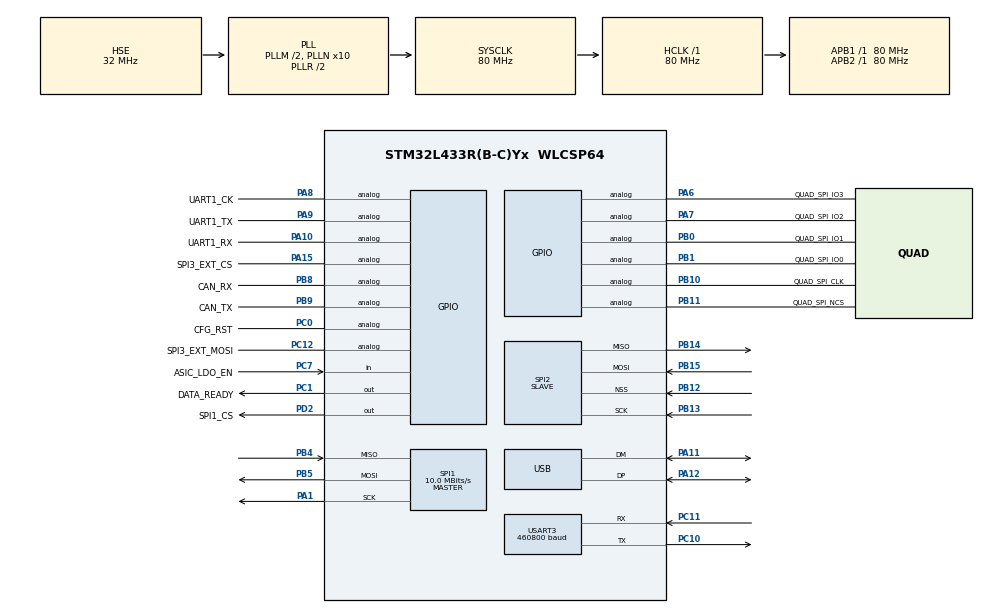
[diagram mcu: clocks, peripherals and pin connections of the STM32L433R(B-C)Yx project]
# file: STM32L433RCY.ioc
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Dma.Request0=SPI2_RX
Dma.Request1=SPI2_TX
Dma.Request2=USART3_RX
Dma.Request3=USART3_TX
Dma.SPI2_RX.0.Direction=DMA_PERIPH_TO_MEMORY
Dma.SPI2_RX.0.Instance=DMA1_Channel4
Dma.SPI2_RX.0.MemDataAlignment=DMA_MDATAALIGN_BYTE
Dma.SPI2_RX.0.MemInc=DMA_MINC_ENABLE
Dma.SPI2_RX.0.Mode=DMA_NORMAL
Dma.SPI2_RX.0.PeriphDataAlignment=DMA_PDATAALIGN_BYTE
Dma.SPI2_RX.0.PeriphInc=DMA_PINC_DISABLE
Dma.SPI2_RX.0.Priority=DMA_PRIORITY_HIGH
Dma.SPI2_TX.1.Direction=DMA_MEMORY_TO_PERIPH
Dma.SPI2_TX.1.Instance=DMA1_Channel5
Dma.SPI2_TX.1.MemDataAlignment=DMA_MDATAALIGN_BYTE
Dma.SPI2_TX.1.MemInc=DMA_MINC_ENABLE
Dma.SPI2_TX.1.Mode=DMA_NORMAL
Dma.SPI2_TX.1.PeriphDataAlignment=DMA_PDATAALIGN_BYTE
Dma.SPI2_TX.1.PeriphInc=DMA_PINC_DISABLE
Dma.SPI2_TX.1.Priority=DMA_PRIORITY_HIGH
Dma.USART3_RX.2.Direction=DMA_PERIPH_TO_MEMORY
Dma.USART3_RX.2.Instance=DMA1_Channel3
Dma.USART3_RX.2.MemDataAlignment=DMA_MDATAALIGN_BYTE
Dma.USART3_RX.2.MemInc=DMA_MINC_ENABLE
Dma.USART3_RX.2.Mode=DMA_NORMAL
Dma.USART3_RX.2.PeriphDataAlignment=DMA_PDATAALIGN_BYTE
Dma.USART3_RX.2.PeriphInc=DMA_PINC_DISABLE
Dma.USART3_RX.2.Priority=DMA_PRIORITY_LOW
Dma.USART3_TX.3.Direction=DMA_MEMORY_TO_PERIPH
Dma.USART3_TX.3.Instance=DMA1_Channel2
Dma.USART3_TX.3.MemDataAlignment=DMA_MDATAALIGN_BYTE
Dma.USART3_TX.3.MemInc=DMA_MINC_ENABLE
Dma.USART3_TX.3.Mode=DMA_NORMAL
Dma.USART3_TX.3.PeriphDataAlignment=DMA_PDATAALIGN_BYTE
Dma.USART3_TX.3.PeriphInc=DMA_PINC_DISABLE
Dma.USART3_TX.3.Priority=DMA_PRIORITY_LOW
Mcu.Family=STM32L4
Mcu.Name=STM32L433R(B-C)Yx
Mcu.Package=WLCSP64
NVIC.DMA1_Channel2_IRQn=true\:0\:0\:true\:false\:true\:true\:true\:true
NVIC.DMA1_Channel3_IRQn=true\:1\:0\:true\:false\:true\:true\:true\:true
NVIC.DMA1_Channel4_IRQn=true\:1\:0\:true\:false\:true\:true\:true\:true
NVIC.DMA1_Channel5_IRQn=true\:0\:0\:true\:false\:true\:true\:true\:true
NVIC.PriorityGroup=NVIC_PRIORITYGROUP_4
NVIC.RCC_IRQn=true\:0\:0\:false\:false\:true\:true\:false\:true
NVIC.SPI1_IRQn=true\:3\:0\:true\:false\:true\:true\:true\:true
NVIC.SPI2_IRQn=true\:1\:0\:true\:false\:true\:true\:true\:true
NVIC.TIM2_IRQn=true\:2\:0\:true\:false\:true\:true\:true\:true
NVIC.USART3_IRQn=true\:0\:0\:false\:false\:true\:true\:true\:true
NVIC.USB_IRQn=true\:0\:0\:false\:false\:true\:true\:true\:true
PA1.Mode=Full_Duplex_Master
PA1.Signal=SPI1_SCK
PA10.GPIO_Label=UART1_RX
PA10.Signal=GPIO_Analog
PA11.Mode=Device
PA11.Signal=USB_DM
PA12.Mode=Device
PA12.Signal=USB_DP
PA13\ (JTMS-SWDIO).Mode=Trace_Asynchronous_SW
PA13\ (JTMS-SWDIO).Signal=SYS_JTMS-SWDIO
PA14\ (JTCK-SWCLK).Mode=Trace_Asynchronous_SW
PA14\ (JTCK-SWCLK).Signal=SYS_JTCK-SWCLK
PA15\ (JTDI).GPIO_Label=SPI3_EXT_CS
PA15\ (JTDI).Signal=GPIO_Analog
PA6.GPIO_Label=QUAD_SPI_IO3
PA6.Signal=GPIO_Analog
PA7.GPIO_Label=QUAD_SPI_IO2
PA7.Signal=GPIO_Analog
PA8.GPIO_Label=UART1_CK
PA8.Signal=GPIO_Analog
PA9.GPIO_Label=UART1_TX
PA9.Signal=GPIO_Analog
PB0.GPIO_Label=QUAD_SPI_IO1
PB0.Signal=GPIO_Analog
PB1.GPIO_Label=QUAD_SPI_IO0
PB1.Signal=GPIO_Analog
PB10.GPIO_Label=QUAD_SPI_CLK
PB10.Signal=GPIO_Analog
PB11.GPIO_Label=QUAD_SPI_NCS
PB11.Signal=GPIO_Analog
PB12.GPIO_PuPd=GPIO_PULLUP
PB12.Mode=NSS_Signal_Hard_Input
PB12.Signal=SPI2_NSS
PB13.Mode=Full_Duplex_Slave
PB13.Signal=SPI2_SCK
PB14.Mode=Full_Duplex_Slave
PB14.Signal=SPI2_MISO
PB15.Mode=Full_Duplex_Slave
PB15.Signal=SPI2_MOSI
PB3\ (JTDO-TRACESWO).Mode=Trace_Asynchronous_SW
PB3\ (JTDO-TRACESWO).Signal=SYS_JTDO-SWO
PB4\ (NJTRST).Mode=Full_Duplex_Master
PB4\ (NJTRST).Signal=SPI1_MISO
PB5.Mode=Full_Duplex_Master
PB5.Signal=SPI1_MOSI
PB8.GPIO_Label=CAN_RX
PB8.Signal=GPIO_Analog
PB9.GPIO_Label=CAN_TX
PB9.Signal=GPIO_Analog
PC0.GPIO_Label=CFG_RST
PC0.Signal=GPIO_Analog
PC1.GPIO_Label=DATA_READY
PC1.GPIO_PuPd=GPIO_NOPULL
PC1.Signal=GPIO_Output
PC10.GPIO_PuPd=GPIO_NOPULL
PC10.Mode=Asynchronous
PC10.Signal=USART3_TX
PC11.GPIO_PuPd=GPIO_PULLUP
PC11.Mode=Asynchronous
PC11.Signal=USART3_RX
PC12.GPIO_Label=SPI3_EXT_MOSI
PC12.Signal=GPIO_Analog
PC7.GPIO_Label=ASIC_LDO_EN
PC7.GPIO_PuPd=GPIO_PULLUP
PC7.Signal=GPIO_Input
PD2.GPIO_Label=SPI1_CS
PD2.PinState=GPIO_PIN_SET
PD2.Signal=GPIO_Output
PH0-OSC_IN\ (PH0).Mode=HSE-External-Oscillator
PH0-OSC_IN\ (PH0).Signal=RCC_OSC_IN
PH1-OSC_OUT\ (PH1).Mode=HSE-External-Oscillator
PH1-OSC_OUT\ (PH1).Signal=RCC_OSC_OUT
ProjectManager.HeapSize=0x2000
ProjectManager.StackSize=0x4000
ProjectManager.TargetToolchain=STM32CubeIDE
RCC.ADCFreq_Value=96000000
RCC.AHBFreq_Value=80000000
RCC.APB1Freq_Value=80000000
RCC.APB1TimFreq_Value=80000000
RCC.APB2Freq_Value=80000000
RCC.APB2TimFreq_Value=80000000
RCC.CortexFreq_Value=80000000
RCC.HCLKFreq_Value=80000000
RCC.HSE_VALUE=32000000
RCC.HSI48_VALUE=48000000
RCC.HSI_VALUE=16000000
RCC.LSE_VALUE=32768
RCC.MSI_VALUE=4000000
RCC.PLLM=2
RCC.PLLN=10
RCC.PLLSAI1N=12
RCC.PLLSAI1Q=RCC_PLLQ_DIV4
RCC.PLLSourceVirtual=RCC_PLLSOURCE_HSE
RCC.RCC_MCO1Source=RCC_MCO1SOURCE_HSE
RCC.RCC_MCODiv=RCC_MCODIV_2
RCC.SYSCLKFreq_VALUE=80000000
RCC.SYSCLKSource=RCC_SYSCLKSOURCE_PLLCLK
RCC.USBFreq_Value=48000000
RCC.VCOOutputFreq_Value=160000000
RCC.VDD_VALUE=3.3
SPI1.BaudRatePrescaler=SPI_BAUDRATEPRESCALER_8
SPI1.CalculateBaudRate=10.0 MBits/s
SPI1.DataSize=SPI_DATASIZE_16BIT
SPI1.Direction=SPI_DIRECTION_2LINES
SPI1.Mode=SPI_MODE_MASTER
SPI1.VirtualType=VM_MASTER
SPI2.DataSize=SPI_DATASIZE_8BIT
SPI2.Direction=SPI_DIRECTION_2LINES
SPI2.Mode=SPI_MODE_SLAVE
SPI2.VirtualNSS=VM_NSSHARD
SPI2.VirtualType=VM_SLAVE
TIM2.AutoReloadPreload=TIM_AUTORELOAD_PRELOAD_ENABLE
TIM2.Period=399
TIM2.Prescaler=99
USART3.BaudRate=460800
USART3.VirtualMode-Asynchronous=VM_ASYNC
USB_DEVICE.CLASS_NAME_FS=CDC
USB_DEVICE.MANUFACTURER_STRING=Murata
USB_DEVICE.PID_CDC_FS=0x5740
USB_DEVICE.PRODUCT_STRING_CDC_FS=Murata SCI36LT-K02
USB_DEVICE.USBD_LPM_ENABLED=0
USB_DEVICE.VID=0xbb5
USB_DEVICE.VirtualMode=Cdc
USB_DEVICE.VirtualModeFS=Cdc_FS
VP_TIM2_VS_ClockSourceINT.Mode=Internal
VP_USB_DEVICE_VS_USB_DEVICE_CDC_FS.Mode=CDC_FS
board=custom

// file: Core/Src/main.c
/* USER CODE BEGIN Header */
/**
  ******************************************************************************
  * @file           : main.c
  * @brief          : Main program body.
  ******************************************************************************
  * @attention
  *
  * Murata contributions: Copyright (c) 2024-2026 Murata Electronics Oy.
  *
  * Portions Copyright (c) STMicroelectronics.
  * All rights reserved.
  *
  * ST-generated code and modifications to it are licensed under the Ultimate
  * Liberty software license agreement SLA0044. See
  * third_party_licenses/ST_SLA0044.txt and THIRD_PARTY_NOTICES.md at the
  * repository root.
  *
  ******************************************************************************
  */
/* USER CODE END Header */
#include "main.h"
#include "usb_device.h"

/* USER CODE BEGIN Includes */
#include "stdbool.h"
#include "stdint.h"
#include "string.h"
#include "stdio.h"
#include "math.h"
#include "MFI_MEMS.h"
#include "AsicFunctions.h"
#include "StrFunctions.h"
#include "reg_interface.h"
#include "task_processor.h"
#include "firmware_extension.h"
#include "bit_names.h"
#if DEBUG_PRINTS_ON_USB
#include "usbd_cdc_if.h"
#endif

/* USER CODE END Includes */

/* USER CODE BEGIN PD */

#define HOST_SPI_NSS_GPIO_PORT GPIOB
#define HOST_SPI_NSS_PIN GPIO_PIN_12

/* USER CODE END PD */

SPI_HandleTypeDef hspi1;
SPI_HandleTypeDef hspi2;
DMA_HandleTypeDef hdma_spi2_rx;
DMA_HandleTypeDef hdma_spi2_tx;

TIM_HandleTypeDef htim2;

UART_HandleTypeDef huart3;
DMA_HandleTypeDef hdma_usart3_rx;
DMA_HandleTypeDef hdma_usart3_tx;

/* USER CODE BEGIN PV */
volatile uint16_t sensor_average = 0;
static uint16_t sensor_valid_samples = 0;
volatile uint8_t averaging_complete = 0;
volatile bool tx_done_flag = true;
volatile uint32_t rx_dma_reset_counter = 0;
static uint8_t asic_spi_enabled = 1;
struct component_flag status_flag={0};
uint8_t spi_rx_data[MAX_BYTES_PER_TRANSFER];
uint8_t uart_rx_data[MAX_BYTES_PER_TRANSFER];
struct sensor_Array out = {0};
struct sensor_LSB32 sensor_raw = {0};
struct sensor_LSB32 sensor_ave = {0};
static volatile bool spi_recovery_pending = false;
/* USER CODE END PV */

void SystemClock_Config(void);
static void MX_GPIO_Init(void);
static void MX_DMA_Init(void);
static void MX_SPI1_Init(void);
static void MX_TIM2_Init(void);
static void MX_SPI2_Init(void);
static void MX_USART3_UART_Init(void);
/* USER CODE BEGIN PFP */

static void try_recover_host_spi(void);

/* USER CODE END PFP */

int main(void)
{

  /* MCU Configuration--------------------------------------------------------*/

  /* Reset of all peripherals, Initializes the Flash interface and the Systick. */
  HAL_Init();

  /* Configure the system clock */
  SystemClock_Config();

  /* Initialize all configured peripherals */
  MX_GPIO_Init();
  MX_DMA_Init();
  MX_SPI1_Init();
  MX_TIM2_Init();
#if DEBUG_PRINTS_ON_USB
  MX_USB_DEVICE_Init();
#endif
  MX_SPI2_Init();
  MX_USART3_UART_Init();
  /* USER CODE BEGIN 2 */
	HAL_SPI_Init(&hspi1);
	HAL_SPI_Init(&hspi2);

	HAL_Delay(5);

	__HAL_SPI_ENABLE(&hspi1);
	__HAL_SPI_ENABLE(&hspi2);

	while(HAL_SPI_TransmitReceive_DMA(&hspi2, get_tx_frame_ptr(SPI_INTERFACE), spi_rx_data, get_transfer_count()) != HAL_OK);
	while(HAL_UART_Receive_DMA(&huart3, uart_rx_data, get_transfer_count()) != HAL_OK);

#if DEBUG_PRINTS_ON_USB
	HAL_Delay(400); // USB device needs to negotiate with PC, which takes some time
#endif

	// Initialize register bank
	init_reg_bank();
	firmware_extension_init();

	// This will initialize ASIC in process_tasks()
	write_reg(CONF, set_bit_state(0, RST, 1));

	// Allow the ASIC NVM to complete before the first SPI initialization.
	HAL_Delay(50);

  /* USER CODE END 2 */

  /* Infinite loop */
	while (1)
	{

    /* USER CODE BEGIN 3 */
		if (spi_recovery_pending) {
			try_recover_host_spi();
		}
		process_tasks();
		firmware_extension_process();

		//Average
		if(averaging_complete)
		{
			averaging_complete = 0;

			// Continue processing only if reset has not been requested
			if (get_bit_state(read_reg(SENSOR_STATUS, 0), RES) == 0)
			{
				if (get_init_stage() == stage_normal)
				{
					// Update all data registers before setting DATA_READY.
					const uint8_t data_reg_modified[DATA_REG_COUNT] = {[0 ... DATA_REG_COUNT - 1] = 1};
					int32_t data_array[DATA_REG_COUNT] = {
							float_to_fixed(out.Acc_X, REGULAR_FRACTIONAL_BITS),
							float_to_fixed(out.Acc_Y, REGULAR_FRACTIONAL_BITS),
							float_to_fixed(out.Acc_Z, REGULAR_FRACTIONAL_BITS),
							float_to_fixed(out.Gyro_X, REGULAR_FRACTIONAL_BITS),
							float_to_fixed(out.Gyro_Y, REGULAR_FRACTIONAL_BITS),
							float_to_fixed(out.Gyro_Z, REGULAR_FRACTIONAL_BITS),
							float_to_fixed(out.Temp, REGULAR_FRACTIONAL_BITS)
					};
					firmware_extension_transform_sensor_data(data_array, DATA_REG_COUNT);

					reg_bank_t *register_bank = get_reg_bank_ptr();
					__disable_irq();
					for (uint8_t data_index = 0; data_index < DATA_REG_COUNT; ++data_index)
					{
						uint8_t reg = data_reg_at(data_index);
						register_bank->reg_data[reg] = data_array[data_index];
						register_bank->reg_modified[reg] = data_reg_modified[data_index];
					}

					//All data registers have been written, so set DATA_READY pin and bit to one
					main_set_data_ready_pin_state(1);
					__enable_irq();
				}

				// Update status register
				__disable_irq();
				write_reg(SENSOR_STATUS, (int32_t) (
						(((uint32_t)read_reg(SENSOR_STATUS, 0)) & (1UL << DRY)) |
						(((uint32_t)status_flag.common) << CMS) |
						(((uint32_t)status_flag.Hard_Asic_Crc) << ACRC) |
						(((uint32_t)status_flag.Hard_Asic_Command) << ACE) |
						(((uint32_t)status_flag.Hard_Gyro_X) << HGX) |
						(((uint32_t)status_flag.Soft_Gyro_X) << SGX) |
						(((uint32_t)status_flag.Hard_Gyro_Y) << HGY) |
						(((uint32_t)status_flag.Soft_Gyro_Y) << SGY) |
						(((uint32_t)status_flag.Hard_Gyro_Z) << HGZ) |
						(((uint32_t)status_flag.Soft_Gyro_Z) << SGZ) |
						(((uint32_t)status_flag.Hard_Acc_X) << HAX) |
						(((uint32_t)status_flag.Soft_Acc_X) << SAX) |
						(((uint32_t)status_flag.Hard_Acc_Y) << HAY) |
						(((uint32_t)status_flag.Soft_Acc_Y) << SAY) |
						(((uint32_t)status_flag.Hard_Acc_Z) << HAZ) |
						(((uint32_t)status_flag.Soft_Acc_Z) << SAZ)
						));
				// Clear published flags before an ISR can latch a new error that this reset would erase.
				status_flag.Soft_Gyro_X=0;
				status_flag.Soft_Gyro_Y=0;
				status_flag.Soft_Gyro_Z=0;
				status_flag.Soft_Acc_X=0;
				status_flag.Soft_Acc_Y=0;
				status_flag.Soft_Acc_Z=0;

				status_flag.Hard_Gyro_X = 0;
				status_flag.Hard_Gyro_Y = 0;
				status_flag.Hard_Gyro_Z = 0;
				status_flag.Hard_Acc_X = 0;
				status_flag.Hard_Acc_Y = 0;
				status_flag.Hard_Acc_Z = 0;

				status_flag.common = 0;
				status_flag.Hard_Asic_Crc = 0;
				status_flag.Hard_Asic_Command = 0;
				__enable_irq();

				debug_printf("%.6f\t%.6f\t%.6f\t%.3f\t%.3f\t%.3f\t%.1f\t%08X",
						out.Acc_X, out.Acc_Y, out.Acc_Z,
						out.Gyro_X, out.Gyro_Y, out.Gyro_Z,
						out.Temp,
						read_reg(SENSOR_STATUS, 0)
						);
			}
		}

		//Put CPU into sleep, but all peripherals continue to operate. Next sample timer interrupt will wake the CPU up
		HAL_SuspendTick();
		HAL_PWR_EnterSLEEPMode(PWR_MAINREGULATOR_ON,PWR_SLEEPENTRY_WFI);
		HAL_ResumeTick();

	} // while

  /* USER CODE END 3 */
}

void SystemClock_Config(void)
{
  RCC_OscInitTypeDef RCC_OscInitStruct = {0};
  RCC_ClkInitTypeDef RCC_ClkInitStruct = {0};

  /** Configure the main internal regulator output voltage
  */
  if (HAL_PWREx_ControlVoltageScaling(PWR_REGULATOR_VOLTAGE_SCALE1) != HAL_OK)
  {
    Error_Handler();
  }

  /** Initializes the RCC Oscillators according to the specified parameters
  * in the RCC_OscInitTypeDef structure.
  */
  RCC_OscInitStruct.OscillatorType = RCC_OSCILLATORTYPE_HSE;
  RCC_OscInitStruct.HSEState = RCC_HSE_ON;
  RCC_OscInitStruct.PLL.PLLState = RCC_PLL_ON;
  RCC_OscInitStruct.PLL.PLLSource = RCC_PLLSOURCE_HSE;
  RCC_OscInitStruct.PLL.PLLM = 2;
  RCC_OscInitStruct.PLL.PLLN = 10;
  RCC_OscInitStruct.PLL.PLLP = RCC_PLLP_DIV7;
  RCC_OscInitStruct.PLL.PLLQ = RCC_PLLQ_DIV2;
  RCC_OscInitStruct.PLL.PLLR = RCC_PLLR_DIV2;
  if (HAL_RCC_OscConfig(&RCC_OscInitStruct) != HAL_OK)
  {
    Error_Handler();
  }

  /** Initializes the CPU, AHB and APB buses clocks
  */
  RCC_ClkInitStruct.ClockType = RCC_CLOCKTYPE_HCLK|RCC_CLOCKTYPE_SYSCLK
                              |RCC_CLOCKTYPE_PCLK1|RCC_CLOCKTYPE_PCLK2;
  RCC_ClkInitStruct.SYSCLKSource = RCC_SYSCLKSOURCE_PLLCLK;
  RCC_ClkInitStruct.AHBCLKDivider = RCC_SYSCLK_DIV1;
  RCC_ClkInitStruct.APB1CLKDivider = RCC_HCLK_DIV1;
  RCC_ClkInitStruct.APB2CLKDivider = RCC_HCLK_DIV1;

  if (HAL_RCC_ClockConfig(&RCC_ClkInitStruct, FLASH_LATENCY_4) != HAL_OK)
  {
    Error_Handler();
  }
}

static void MX_SPI1_Init(void)
{

  /* SPI1 parameter configuration*/
  hspi1.Instance = SPI1;
  hspi1.Init.Mode = SPI_MODE_MASTER;
  hspi1.Init.Direction = SPI_DIRECTION_2LINES;
  hspi1.Init.DataSize = SPI_DATASIZE_16BIT;
  hspi1.Init.CLKPolarity = SPI_POLARITY_LOW;
  hspi1.Init.CLKPhase = SPI_PHASE_1EDGE;
  hspi1.Init.NSS = SPI_NSS_SOFT;
  hspi1.Init.BaudRatePrescaler = SPI_BAUDRATEPRESCALER_8;
  hspi1.Init.FirstBit = SPI_FIRSTBIT_MSB;
  hspi1.Init.TIMode = SPI_TIMODE_DISABLE;
  hspi1.Init.CRCCalculation = SPI_CRCCALCULATION_DISABLE;
  hspi1.Init.CRCPolynomial = 7;
  hspi1.Init.CRCLength = SPI_CRC_LENGTH_DATASIZE;
  hspi1.Init.NSSPMode = SPI_NSS_PULSE_ENABLE;
  if (HAL_SPI_Init(&hspi1) != HAL_OK)
  {
    Error_Handler();
  }

}

static void MX_SPI2_Init(void)
{

  /* SPI2 parameter configuration*/
  hspi2.Instance = SPI2;
  hspi2.Init.Mode = SPI_MODE_SLAVE;
  hspi2.Init.Direction = SPI_DIRECTION_2LINES;
  hspi2.Init.DataSize = SPI_DATASIZE_8BIT;
  hspi2.Init.CLKPolarity = SPI_POLARITY_LOW;
  hspi2.Init.CLKPhase = SPI_PHASE_1EDGE;
  hspi2.Init.NSS = SPI_NSS_HARD_INPUT;
  hspi2.Init.FirstBit = SPI_FIRSTBIT_MSB;
  hspi2.Init.TIMode = SPI_TIMODE_DISABLE;
  hspi2.Init.CRCCalculation = SPI_CRCCALCULATION_DISABLE;
  hspi2.Init.CRCPolynomial = 7;
  hspi2.Init.CRCLength = SPI_CRC_LENGTH_DATASIZE;
  hspi2.Init.NSSPMode = SPI_NSS_PULSE_DISABLE;
  if (HAL_SPI_Init(&hspi2) != HAL_OK)
  {
    Error_Handler();
  }

}

static void MX_TIM2_Init(void)
{

  TIM_ClockConfigTypeDef sClockSourceConfig = {0};
  TIM_MasterConfigTypeDef sMasterConfig = {0};

  htim2.Instance = TIM2;
  htim2.Init.Prescaler = 99;
  htim2.Init.CounterMode = TIM_COUNTERMODE_UP;
  htim2.Init.Period = 399;
  htim2.Init.ClockDivision = TIM_CLOCKDIVISION_DIV1;
  htim2.Init.AutoReloadPreload = TIM_AUTORELOAD_PRELOAD_ENABLE;
  if (HAL_TIM_Base_Init(&htim2) != HAL_OK)
  {
    Error_Handler();
  }
  sClockSourceConfig.ClockSource = TIM_CLOCKSOURCE_INTERNAL;
  if (HAL_TIM_ConfigClockSource(&htim2, &sClockSourceConfig) != HAL_OK)
  {
    Error_Handler();
  }
  sMasterConfig.MasterOutputTrigger = TIM_TRGO_RESET;
  sMasterConfig.MasterSlaveMode = TIM_MASTERSLAVEMODE_DISABLE;
  if (HAL_TIMEx_MasterConfigSynchronization(&htim2, &sMasterConfig) != HAL_OK)
  {
    Error_Handler();
  }

}

static void MX_USART3_UART_Init(void)
{

  huart3.Instance = USART3;
  huart3.Init.BaudRate = 460800;
  huart3.Init.WordLength = UART_WORDLENGTH_8B;
  huart3.Init.StopBits = UART_STOPBITS_1;
  huart3.Init.Parity = UART_PARITY_NONE;
  huart3.Init.Mode = UART_MODE_TX_RX;
  huart3.Init.HwFlowCtl = UART_HWCONTROL_NONE;
  huart3.Init.OverSampling = UART_OVERSAMPLING_16;
  huart3.Init.OneBitSampling = UART_ONE_BIT_SAMPLE_DISABLE;
  huart3.AdvancedInit.AdvFeatureInit = UART_ADVFEATURE_NO_INIT;
  if (HAL_UART_Init(&huart3) != HAL_OK)
  {
    Error_Handler();
  }

}

static void MX_DMA_Init(void)
{

  /* DMA controller clock enable */
  __HAL_RCC_DMA1_CLK_ENABLE();

  /* DMA interrupt init */
  /* DMA1_Channel2_IRQn interrupt configuration */
  HAL_NVIC_SetPriority(DMA1_Channel2_IRQn, 0, 0);
  HAL_NVIC_EnableIRQ(DMA1_Channel2_IRQn);
  /* DMA1_Channel3_IRQn interrupt configuration */
  HAL_NVIC_SetPriority(DMA1_Channel3_IRQn, 1, 0);
  HAL_NVIC_EnableIRQ(DMA1_Channel3_IRQn);
  /* DMA1_Channel4_IRQn interrupt configuration */
  HAL_NVIC_SetPriority(DMA1_Channel4_IRQn, 1, 0);
  HAL_NVIC_EnableIRQ(DMA1_Channel4_IRQn);
  /* DMA1_Channel5_IRQn interrupt configuration */
  HAL_NVIC_SetPriority(DMA1_Channel5_IRQn, 0, 0);
  HAL_NVIC_EnableIRQ(DMA1_Channel5_IRQn);

}

static void MX_GPIO_Init(void)
{
  GPIO_InitTypeDef GPIO_InitStruct = {0};

  /* GPIO Ports Clock Enable */
  __HAL_RCC_GPIOA_CLK_ENABLE();
  __HAL_RCC_GPIOC_CLK_ENABLE();
  __HAL_RCC_GPIOD_CLK_ENABLE();
  __HAL_RCC_GPIOB_CLK_ENABLE();
  __HAL_RCC_GPIOH_CLK_ENABLE();

  /*Configure GPIO pin Output Level */
  HAL_GPIO_WritePin(SPI1_CS_GPIO_Port, SPI1_CS_Pin, GPIO_PIN_SET);

  /*Configure GPIO pin Output Level */
  HAL_GPIO_WritePin(DATA_READY_GPIO_Port, DATA_READY_Pin, GPIO_PIN_RESET);

  /*Configure GPIO pins : SPI3_EXT_CS_Pin UART1_TX_Pin UART1_RX_Pin UART1_CK_Pin
                           QUAD_SPI_IO3_Pin QUAD_SPI_IO2_Pin */
  GPIO_InitStruct.Pin = SPI3_EXT_CS_Pin|UART1_TX_Pin|UART1_RX_Pin|UART1_CK_Pin
                          |QUAD_SPI_IO3_Pin|QUAD_SPI_IO2_Pin;
  GPIO_InitStruct.Mode = GPIO_MODE_ANALOG;
  GPIO_InitStruct.Pull = GPIO_NOPULL;
  HAL_GPIO_Init(GPIOA, &GPIO_InitStruct);

  /*Configure GPIO pins : SPI3_EXT_MOSI_Pin CFG_RST_Pin */
  GPIO_InitStruct.Pin = SPI3_EXT_MOSI_Pin|CFG_RST_Pin;
  GPIO_InitStruct.Mode = GPIO_MODE_ANALOG;
  GPIO_InitStruct.Pull = GPIO_NOPULL;
  HAL_GPIO_Init(GPIOC, &GPIO_InitStruct);

  /*Configure GPIO pin : SPI1_CS_Pin */
  GPIO_InitStruct.Pin = SPI1_CS_Pin;
  GPIO_InitStruct.Mode = GPIO_MODE_OUTPUT_PP;
  GPIO_InitStruct.Pull = GPIO_NOPULL;
  GPIO_InitStruct.Speed = GPIO_SPEED_FREQ_LOW;
  HAL_GPIO_Init(SPI1_CS_GPIO_Port, &GPIO_InitStruct);

  /*Configure GPIO pins : CAN_TX_Pin CAN_RX_Pin QUAD_SPI_IO1_Pin QUAD_SPI_NCS_Pin
                           QUAD_SPI_CLK_Pin QUAD_SPI_IO0_Pin */
  GPIO_InitStruct.Pin = CAN_TX_Pin|CAN_RX_Pin|QUAD_SPI_IO1_Pin|QUAD_SPI_NCS_Pin
                          |QUAD_SPI_CLK_Pin|QUAD_SPI_IO0_Pin;
  GPIO_InitStruct.Mode = GPIO_MODE_ANALOG;
  GPIO_InitStruct.Pull = GPIO_NOPULL;
  HAL_GPIO_Init(GPIOB, &GPIO_InitStruct);

  /*Configure GPIO pin : ASIC_LDO_EN_Pin */
  GPIO_InitStruct.Pin = ASIC_LDO_EN_Pin;
  GPIO_InitStruct.Mode = GPIO_MODE_INPUT;
  GPIO_InitStruct.Pull = GPIO_PULLUP;
  HAL_GPIO_Init(ASIC_LDO_EN_GPIO_Port, &GPIO_InitStruct);

  /*Configure GPIO pin : DATA_READY_Pin */
  GPIO_InitStruct.Pin = DATA_READY_Pin;
  GPIO_InitStruct.Mode = GPIO_MODE_OUTPUT_PP;
  GPIO_InitStruct.Pull = GPIO_NOPULL;
  GPIO_InitStruct.Speed = GPIO_SPEED_FREQ_LOW;
  HAL_GPIO_Init(DATA_READY_GPIO_Port, &GPIO_InitStruct);

}

/* USER CODE BEGIN 4 */

void ISR_2kHz()
{

	check_uart_state();

	get_6dof_dataset(&sensor_raw);
	sensor_average++;

	if (sensor_raw.data_valid)
	{
		sensor_valid_samples++;
		sensor_ave.Acc_X += sensor_raw.Acc_X;
		sensor_ave.Acc_Y += sensor_raw.Acc_Y;
		sensor_ave.Acc_Z += sensor_raw.Acc_Z;

		sensor_ave.Gyro_X += sensor_raw.Gyro_X;
		sensor_ave.Gyro_Y += sensor_raw.Gyro_Y;
		sensor_ave.Gyro_Z += sensor_raw.Gyro_Z;

		sensor_ave.Temp += sensor_raw.Temp;
	}

	// Latch independently valid status words even when measurements are rejected.
	if (sensor_raw.saturation_valid)
	{
		if ((sensor_raw.Saturation & SCI16LT_SAT_RATE_X) == 0) status_flag.Soft_Gyro_X = 1;
		if ((sensor_raw.Saturation & SCI16LT_SAT_RATE_Y) == 0) status_flag.Soft_Gyro_Y = 1;
		if ((sensor_raw.Saturation & SCI16LT_SAT_RATE_Z) == 0) status_flag.Soft_Gyro_Z = 1;
		if ((sensor_raw.Saturation & SCI16LT_SAT_ACC_X) == 0) status_flag.Soft_Acc_X = 1;
		if ((sensor_raw.Saturation & SCI16LT_SAT_ACC_Y) == 0) status_flag.Soft_Acc_Y = 1;
		if ((sensor_raw.Saturation & SCI16LT_SAT_ACC_Z) == 0) status_flag.Soft_Acc_Z = 1;
	}

	if (sensor_raw.status_valid)
	{
		if ((sensor_raw.Status & SCI16LT_SUM_RATE_X) == 0) status_flag.Hard_Gyro_X = 1;
		if ((sensor_raw.Status & SCI16LT_SUM_RATE_Y) == 0) status_flag.Hard_Gyro_Y = 1;
		if ((sensor_raw.Status & SCI16LT_SUM_RATE_Z) == 0) status_flag.Hard_Gyro_Z = 1;
		if ((sensor_raw.Status & SCI16LT_SUM_ACC_X) == 0) status_flag.Hard_Acc_X = 1;
		if ((sensor_raw.Status & SCI16LT_SUM_ACC_Y) == 0) status_flag.Hard_Acc_Y = 1;
		if ((sensor_raw.Status & SCI16LT_SUM_ACC_Z) == 0) status_flag.Hard_Acc_Z = 1;

		if ((sensor_raw.Status & SCI16LT_SUM_CMN) == 0) status_flag.common = 1;
	}

	if(sensor_average >= get_averaging_factor())
	{
		out = (struct sensor_Array){0};
		if (sensor_valid_samples > 0)
		{
			out.Acc_X = ((float)sensor_ave.Acc_X/SENS_ACC/sensor_valid_samples);
			out.Acc_Y = ((float)sensor_ave.Acc_Y/SENS_ACC/sensor_valid_samples);
			out.Acc_Z = ((float)sensor_ave.Acc_Z/SENS_ACC/sensor_valid_samples);

			out.Gyro_X = (float)sensor_ave.Gyro_X/SENS_GYRO/sensor_valid_samples;
			out.Gyro_Y = (float)sensor_ave.Gyro_Y/SENS_GYRO/sensor_valid_samples;
			out.Gyro_Z = (float)sensor_ave.Gyro_Z/SENS_GYRO/sensor_valid_samples;

			out.Temp = (float)sensor_ave.Temp/SENS_TEMP/sensor_valid_samples;
		}

		memset(&sensor_ave, 0, sizeof(struct sensor_LSB32));
		sensor_average = 0;
		sensor_valid_samples = 0;
		averaging_complete = 1;
	}
}

void HAL_UART_RxCpltCallback(UART_HandleTypeDef *huart)
{
	parse_rx_frame(uart_rx_data, UART_INTERFACE);
	DATA_TX(get_tx_frame_ptr(UART_INTERFACE), get_transfer_count());
	rx_dma_reset_counter = 0;
	while(HAL_UART_Receive_DMA(&huart3, uart_rx_data,  get_transfer_count()) != HAL_OK);
}

void HAL_UART_TxCpltCallback(UART_HandleTypeDef *huart)
{
    tx_done_flag = true;
}

void HAL_SPI_TxRxCpltCallback(SPI_HandleTypeDef *hspi){
	// SPI1 ASIC transfers are polled directly; only SPI2 uses this DMA callback.
	if (hspi != &hspi2)
	{
		return;
	}

	// Parse received SPI frame and load TX data
	parse_rx_frame(spi_rx_data, SPI_INTERFACE);

	// Re-enable SPI DMA transfer. Recover from main context if rearming fails.
	if (HAL_SPI_TransmitReceive_DMA(&hspi2, get_tx_frame_ptr(SPI_INTERFACE), spi_rx_data, get_transfer_count()) != HAL_OK)
	{
		spi_recovery_pending = true;
	}
}

void HAL_SPI_ErrorCallback(SPI_HandleTypeDef *hspi)
{
	if (hspi == &hspi2)
	{
		spi_recovery_pending = true;
	}
}

static void try_recover_host_spi(void)
{
	// The error callback has returned; wait for a clean SPI frame boundary.
	if (HAL_GPIO_ReadPin(HOST_SPI_NSS_GPIO_PORT, HOST_SPI_NSS_PIN) != GPIO_PIN_SET)
	{
		return;
	}

	spi_recovery_pending = false;
	if (HAL_SPI_Abort(&hspi2) != HAL_OK)
	{
		spi_recovery_pending = true;
		return;
	}

	// The OVR handler already disabled the DMA requests, so HAL_SPI_Abort()
	// may have skipped its RX FIFO drain. Flush it before starting a new frame.
	// A timeout leaves recovery pending; the next main-loop pass retries it.
	if (HAL_SPIEx_FlushRxFifo(&hspi2) != HAL_OK)
	{
		spi_recovery_pending = true;
		return;
	}

	// NSS may have gone active while the abort and flush were running.
	if (HAL_GPIO_ReadPin(HOST_SPI_NSS_GPIO_PORT, HOST_SPI_NSS_PIN) != GPIO_PIN_SET)
	{
		spi_recovery_pending = true;
		return;
	}

	if (HAL_SPI_TransmitReceive_DMA(&hspi2, get_tx_frame_ptr(SPI_INTERFACE), spi_rx_data, get_transfer_count()) != HAL_OK)
	{
		spi_recovery_pending = true;
		return;
	}
}

// Resets UART RX DMA transmission if it is frozen
void check_uart_state()
{
	static uint32_t bytes_received_prev = 0;
	uint16_t bytes_received =  huart3.hdmarx->Instance->CNDTR;
	if((bytes_received != get_transfer_count()) && (bytes_received == bytes_received_prev))
	{
		rx_dma_reset_counter++;
	}
	else
	{
		rx_dma_reset_counter = 0;
	}
	bytes_received_prev = bytes_received;

	if ( (rx_dma_reset_counter > UART_DMA_RESET_TIMEOUT) || ((huart3.hdmarx->Instance->CCR & 0x01) == 0) )
	{
		HAL_UART_DMAStop(&huart3);                          // STOP Uart
		MX_USART3_UART_Init();                              // INIT Uart
		tx_done_flag = true;                                // DMAStop may abort an active TX
		while(HAL_UART_Receive_DMA(&huart3, uart_rx_data,  get_transfer_count()) != HAL_OK);
	}
}

void main_set_data_ready_pin_state(uint8_t state)
{

	if (state)
	{
		HAL_GPIO_WritePin(DATA_READY_GPIO_Port, DATA_READY_Pin, GPIO_PIN_SET);
	}
	else
	{
		HAL_GPIO_WritePin(DATA_READY_GPIO_Port, DATA_READY_Pin, GPIO_PIN_RESET);
	}

	*get_reg_ptr(SENSOR_STATUS) = set_bit_state(read_reg(SENSOR_STATUS, 1), DRY, state);

}

void main_set_asic_crc_error(void)
{
	status_flag.Hard_Asic_Crc = 1;
}

void main_set_asic_command_error(void)
{
	status_flag.Hard_Asic_Command = 1;
}

void main_ASIC_GPIO_SPI_disable(void)
{
	// Disable SPI and release the ASIC interface pins after initialization failure.
	__HAL_SPI_DISABLE(&hspi1);
	HAL_SPI_DeInit(&hspi1);
	HAL_GPIO_DeInit(SPI1_CS_GPIO_Port, SPI1_CS_Pin);
	asic_spi_enabled = 0;
}

void main_ASIC_GPIO_SPI_reinit(void)
{
	GPIO_InitTypeDef GPIO_InitStruct = {0};

	__HAL_RCC_GPIOD_CLK_ENABLE();
	HAL_GPIO_WritePin(SPI1_CS_GPIO_Port, SPI1_CS_Pin, GPIO_PIN_SET);

	GPIO_InitStruct.Pin = SPI1_CS_Pin;
	GPIO_InitStruct.Mode = GPIO_MODE_OUTPUT_PP;
	GPIO_InitStruct.Pull = GPIO_NOPULL;
	GPIO_InitStruct.Speed = GPIO_SPEED_FREQ_LOW;
	HAL_GPIO_Init(SPI1_CS_GPIO_Port, &GPIO_InitStruct);

	MX_SPI1_Init();
	HAL_SPI_Init(&hspi1);
	__HAL_SPI_ENABLE(&hspi1);
	asic_spi_enabled = 1;
}

uint8_t main_ASIC_GPIO_SPI_is_enabled(void)
{
	return asic_spi_enabled;
}

/* USER CODE END 4 */

void Error_Handler(void)
{
  /* USER CODE BEGIN Error_Handler_Debug */
	debug_printf("ASSERT");

	/* User can add his own implementation to report the HAL error return state */
	__disable_irq();
	while (1)
	{
	}
  /* USER CODE END Error_Handler_Debug */
}
